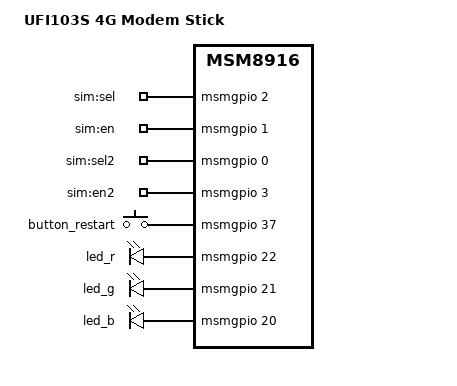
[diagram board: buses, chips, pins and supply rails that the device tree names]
// SPDX-License-Identifier: GPL-2.0-only

/dts-v1/;

#include "msm8916-ufi.dtsi"

/ {
	model = "UFI103S 4G Modem Stick";
	compatible = "thwc,ufi001c", "qcom,msm8916";

	// Добавляем управление SIM-картами в общий блок светодиодов
	leds {
		sim_sel {
			label = "sim:sel";
			gpios = <&msmgpio 2 GPIO_ACTIVE_HIGH>;
			default-state = "on";
		};

		sim_en {
			label = "sim:en";
			gpios = <&msmgpio 1 GPIO_ACTIVE_HIGH>;
			default-state = "off";
		};

		sim_sel2 {
			label = "sim:sel2";
			gpios = <&msmgpio 0 GPIO_ACTIVE_HIGH>;
			default-state = "off";
		};

		sim_en2 {
			label = "sim:en2";
			gpios = <&msmgpio 3 GPIO_ACTIVE_HIGH>;
			default-state = "off";
		};
	};
};

// Переопределяем стандартные светодиоды и кнопку
&button_restart {
	gpios = <&msmgpio 37 GPIO_ACTIVE_HIGH>;
};

&led_r {
	gpios = <&msmgpio 22 GPIO_ACTIVE_HIGH>;
};

&led_g {
	gpios = <&msmgpio 21 GPIO_ACTIVE_HIGH>;
};

&led_b {
	gpios = <&msmgpio 20 GPIO_ACTIVE_HIGH>;
};

&button_default {
	pins = "gpio37";
	bias-pull-down;
};

&gpio_leds_default {
	pins = "gpio0", "gpio1", "gpio2", "gpio3", "gpio20", "gpio21", "gpio22";
};
